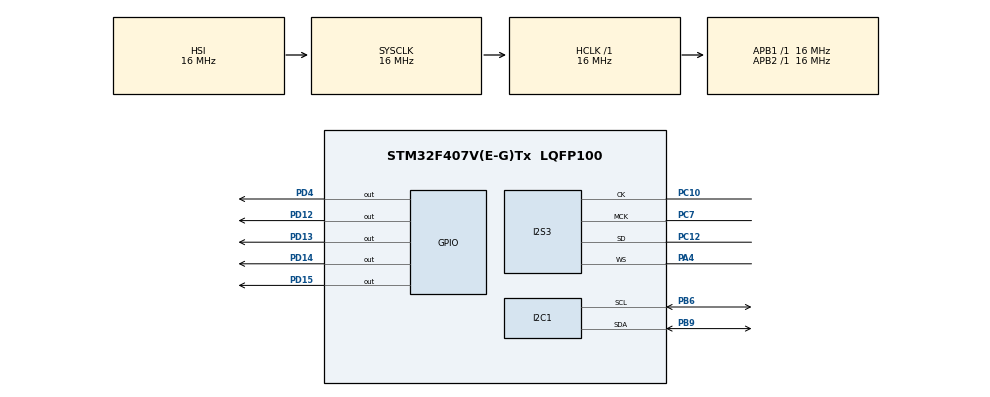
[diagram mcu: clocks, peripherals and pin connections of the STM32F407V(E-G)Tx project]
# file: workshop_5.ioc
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Dma.Request0=SPI3_TX
Dma.SPI3_TX.0.Direction=DMA_MEMORY_TO_PERIPH
Dma.SPI3_TX.0.FIFOMode=DMA_FIFOMODE_DISABLE
Dma.SPI3_TX.0.Instance=DMA1_Stream5
Dma.SPI3_TX.0.MemDataAlignment=DMA_MDATAALIGN_HALFWORD
Dma.SPI3_TX.0.MemInc=DMA_MINC_ENABLE
Dma.SPI3_TX.0.Mode=DMA_CIRCULAR
Dma.SPI3_TX.0.PeriphDataAlignment=DMA_PDATAALIGN_HALFWORD
Dma.SPI3_TX.0.PeriphInc=DMA_PINC_DISABLE
Dma.SPI3_TX.0.Priority=DMA_PRIORITY_LOW
I2S3.AudioFreq=I2S_AUDIOFREQ_48K
I2S3.ErrorAudioFreq=-2.34 %
I2S3.FullDuplexMode=I2S_FULLDUPLEXMODE_DISABLE
I2S3.Instance=SPI$Index
I2S3.RealAudioFreq=46.875 KHz
I2S3.VirtualMode=I2S_MODE_MASTER
Mcu.Family=STM32F4
Mcu.Name=STM32F407V(E-G)Tx
Mcu.Package=LQFP100
NVIC.DMA1_Stream5_IRQn=true\:0\:0\:false\:false\:true\:false\:true\:true
NVIC.PriorityGroup=NVIC_PRIORITYGROUP_4
PA13.Mode=Serial_Wire
PA13.Signal=SYS_JTMS-SWDIO
PA14.Mode=Serial_Wire
PA14.Signal=SYS_JTCK-SWCLK
PA4.Mode=Half_Duplex_Master
PA4.Signal=I2S3_WS
PB6.Mode=I2C
PB6.Signal=I2C1_SCL
PB9.Mode=I2C
PB9.Signal=I2C1_SDA
PC10.Mode=Half_Duplex_Master
PC10.Signal=I2S3_CK
PC12.Mode=Half_Duplex_Master
PC12.Signal=I2S3_SD
PC7.Mode=Master_Clock_Activated
PC7.Signal=I2S3_MCK
PD12.Signal=GPIO_Output
PD13.Signal=GPIO_Output
PD14.Signal=GPIO_Output
PD15.Signal=GPIO_Output
PD4.Signal=GPIO_Output
ProjectManager.HeapSize=0x200
ProjectManager.StackSize=0x400
ProjectManager.TargetToolchain=STM32CubeIDE
RCC.AHBFreq_Value=16000000
RCC.APB1Freq_Value=16000000
RCC.APB2Freq_Value=16000000
RCC.CortexFreq_Value=16000000
RCC.HSE_VALUE=25000000
RCC.HSI_VALUE=16000000
RCC.LSE_VALUE=32768
RCC.SYSCLKFreq_VALUE=16000000
RCC.VCOOutputFreq_Value=192000000
board=custom

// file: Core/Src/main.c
/* USER CODE BEGIN Header */
/**
  ******************************************************************************
  * @file           : main.c
  * @brief          : Main program body
  ******************************************************************************
  * @attention
  *
  * Copyright (c) 2026 STMicroelectronics.
  * All rights reserved.
  *
  * This software is licensed under terms that can be found in the LICENSE file
  * in the root directory of this software component.
  * If no LICENSE file comes with this software, it is provided AS-IS.
  *
  ******************************************************************************
  */
/* USER CODE END Header */
#include "main.h"

/* USER CODE BEGIN PTD */
typedef struct {
  uint8_t note;
  uint16_t duration_ms;
  uint16_t led_pin;
} BeepStep;
/* USER CODE END PTD */

/* USER CODE BEGIN PD */
#define CS43L22_I2C_ADDR              0x94

#define CS43L22_REG_POWER_CTL1        0x02
#define CS43L22_REG_POWER_CTL2        0x04
#define CS43L22_REG_CLOCKING_CTL      0x05
#define CS43L22_REG_INTERFACE_CTL1    0x06
#define CS43L22_REG_MASTER_A_VOL      0x20
#define CS43L22_REG_MASTER_B_VOL      0x21
#define CS43L22_REG_BEEP_FREQ_ONTIME  0x1C
#define CS43L22_REG_BEEP_VOL_OFFTIME  0x1D
#define CS43L22_REG_BEEP_TONE_CFG     0x1E

#define NOTE_C4   0x00
#define NOTE_C5   0x10
#define NOTE_D5   0x20
#define NOTE_E5   0x30
#define NOTE_F5   0x40
#define NOTE_G5   0x50
#define NOTE_A5   0x60
#define NOTE_B5   0x70
#define NOTE_C6   0x80
#define NOTE_D6   0x90
#define NOTE_E6   0xA0
#define NOTE_F6   0xB0
#define NOTE_G6   0xC0
#define NOTE_A6   0xD0
#define NOTE_B6   0xE0
#define NOTE_C7   0xF0

#define MELODY_REPEAT_COUNT 3
#define I2S_BUFFER_SIZE     16
/* USER CODE END PD */

I2C_HandleTypeDef hi2c1;

I2S_HandleTypeDef hi2s3;
DMA_HandleTypeDef hdma_spi3_tx;

/* USER CODE BEGIN PV */
static uint16_t i2sBuffer[I2S_BUFFER_SIZE] = {0};

static const BeepStep melody[] = {
  {NOTE_C5, 180, GPIO_PIN_12},
  {NOTE_D5, 180, GPIO_PIN_13},
  {NOTE_E5, 220, GPIO_PIN_14},
  {NOTE_G5, 320, GPIO_PIN_15},

  {NOTE_E5, 180, GPIO_PIN_14},
  {NOTE_D5, 180, GPIO_PIN_13},
  {NOTE_C5, 300, GPIO_PIN_12},

  {NOTE_G5, 180, GPIO_PIN_15},
  {NOTE_A5, 180, GPIO_PIN_12},
  {NOTE_G5, 220, GPIO_PIN_13},
  {NOTE_E5, 320, GPIO_PIN_14},

  {NOTE_F5, 180, GPIO_PIN_15},
  {NOTE_E5, 180, GPIO_PIN_14},
  {NOTE_D5, 300, GPIO_PIN_13},

  {NOTE_C5, 180, GPIO_PIN_12},
  {NOTE_E5, 180, GPIO_PIN_14},
  {NOTE_G5, 220, GPIO_PIN_15},
  {NOTE_C6, 360, GPIO_PIN_12},

  {NOTE_G5, 180, GPIO_PIN_15},
  {NOTE_E5, 180, GPIO_PIN_14},
  {NOTE_C5, 420, GPIO_PIN_12}
};

static const uint32_t melodyLength = sizeof(melody) / sizeof(melody[0]);
/* USER CODE END PV */

void SystemClock_Config(void);
static void MX_GPIO_Init(void);
static void MX_DMA_Init(void);
static void MX_I2C1_Init(void);
static void MX_I2S3_Init(void);
/* USER CODE BEGIN PFP */
static void CS43L22_WriteReg(uint8_t reg, uint8_t value);
static void CS43L22_Init(void);
static void CS43L22_PlayBeep(uint8_t note, uint16_t duration_ms, uint16_t led_pin);
static void PlayMelodyOnce(void);
static void PlayMelodyThreeTimes(void);
static void StopAllLeds(void);
/* USER CODE END PFP */

/* USER CODE BEGIN 0 */
static void CS43L22_WriteReg(uint8_t reg, uint8_t value)
{
  uint8_t data[2] = {reg, value};
  HAL_I2C_Master_Transmit(&hi2c1, CS43L22_I2C_ADDR, data, 2, HAL_MAX_DELAY);
}

static void CS43L22_Init(void)
{
  HAL_GPIO_WritePin(GPIOD, GPIO_PIN_4, GPIO_PIN_RESET);
  HAL_Delay(10);
  HAL_GPIO_WritePin(GPIOD, GPIO_PIN_4, GPIO_PIN_SET);
  HAL_Delay(10);

  CS43L22_WriteReg(CS43L22_REG_POWER_CTL1, 0x01);
  CS43L22_WriteReg(CS43L22_REG_POWER_CTL2, 0xAF);
  CS43L22_WriteReg(CS43L22_REG_CLOCKING_CTL, 0x81);
  CS43L22_WriteReg(CS43L22_REG_INTERFACE_CTL1, 0x04);
  CS43L22_WriteReg(CS43L22_REG_MASTER_A_VOL, 0x18);
  CS43L22_WriteReg(CS43L22_REG_MASTER_B_VOL, 0x18);
  CS43L22_WriteReg(CS43L22_REG_POWER_CTL1, 0x9E);
}

static void StopAllLeds(void)
{
  HAL_GPIO_WritePin(GPIOD, GPIO_PIN_12 | GPIO_PIN_13 | GPIO_PIN_14 | GPIO_PIN_15, GPIO_PIN_RESET);
}

static void CS43L22_PlayBeep(uint8_t note, uint16_t duration_ms, uint16_t led_pin)
{
  if (duration_ms == 0) {
    return;
  }

  StopAllLeds();

  CS43L22_WriteReg(CS43L22_REG_BEEP_FREQ_ONTIME, note | 0x0F);
  CS43L22_WriteReg(CS43L22_REG_BEEP_VOL_OFFTIME, 0x00);
  CS43L22_WriteReg(CS43L22_REG_BEEP_TONE_CFG, 0xC0);

  HAL_GPIO_WritePin(GPIOD, led_pin, GPIO_PIN_SET);
  HAL_Delay(duration_ms);

  CS43L22_WriteReg(CS43L22_REG_BEEP_TONE_CFG, 0x00);
  StopAllLeds();
}

static void PlayMelodyOnce(void)
{
  for (uint32_t i = 0; i < melodyLength; i++) {
    CS43L22_PlayBeep(melody[i].note, melody[i].duration_ms, melody[i].led_pin);
    HAL_Delay(45);
  }
}

static void PlayMelodyThreeTimes(void)
{
  for (uint32_t round = 0; round < MELODY_REPEAT_COUNT; round++) {
    PlayMelodyOnce();
    HAL_Delay(500);
  }

  StopAllLeds();
}
/* USER CODE END 0 */

int main(void)
{

  /* MCU Configuration--------------------------------------------------------*/

  /* Reset of all peripherals, Initializes the Flash interface and the Systick. */
  HAL_Init();

  /* Configure the system clock */
  SystemClock_Config();

  /* Initialize all configured peripherals */
  MX_GPIO_Init();
  MX_DMA_Init();
  MX_I2C1_Init();
  MX_I2S3_Init();
  /* USER CODE BEGIN 2 */
  if (HAL_I2S_Transmit_DMA(&hi2s3, i2sBuffer, I2S_BUFFER_SIZE) != HAL_OK)
  {
    Error_Handler();
  }

  CS43L22_Init();
  PlayMelodyThreeTimes();
  /* USER CODE END 2 */

  /* Infinite loop */
  while (1)
  {

  }
}

void SystemClock_Config(void)
{
  RCC_OscInitTypeDef RCC_OscInitStruct = {0};
  RCC_ClkInitTypeDef RCC_ClkInitStruct = {0};

  /** Macro to configure the PLL multiplication factor
  */
  __HAL_RCC_PLL_PLLM_CONFIG(16);

  /** Macro to configure the PLL clock source
  */
  __HAL_RCC_PLL_PLLSOURCE_CONFIG(RCC_PLLSOURCE_HSI);

  /** Configure the main internal regulator output voltage
  */
  __HAL_RCC_PWR_CLK_ENABLE();
  __HAL_PWR_VOLTAGESCALING_CONFIG(PWR_REGULATOR_VOLTAGE_SCALE1);

  /** Initializes the RCC Oscillators according to the specified parameters
  * in the RCC_OscInitTypeDef structure.
  */
  RCC_OscInitStruct.OscillatorType = RCC_OSCILLATORTYPE_HSI;
  RCC_OscInitStruct.HSIState = RCC_HSI_ON;
  RCC_OscInitStruct.HSICalibrationValue = RCC_HSICALIBRATION_DEFAULT;
  RCC_OscInitStruct.PLL.PLLState = RCC_PLL_NONE;
  RCC_OscInitStruct.PLL.PLLSource = RCC_PLLSOURCE_HSI;
  if (HAL_RCC_OscConfig(&RCC_OscInitStruct) != HAL_OK)
  {
    Error_Handler();
  }

  /** Initializes the CPU, AHB and APB buses clocks
  */
  RCC_ClkInitStruct.ClockType = RCC_CLOCKTYPE_HCLK|RCC_CLOCKTYPE_SYSCLK
                              |RCC_CLOCKTYPE_PCLK1|RCC_CLOCKTYPE_PCLK2;
  RCC_ClkInitStruct.SYSCLKSource = RCC_SYSCLKSOURCE_HSI;
  RCC_ClkInitStruct.AHBCLKDivider = RCC_SYSCLK_DIV1;
  RCC_ClkInitStruct.APB1CLKDivider = RCC_HCLK_DIV1;
  RCC_ClkInitStruct.APB2CLKDivider = RCC_HCLK_DIV1;

  if (HAL_RCC_ClockConfig(&RCC_ClkInitStruct, FLASH_LATENCY_0) != HAL_OK)
  {
    Error_Handler();
  }
}

static void MX_I2C1_Init(void)
{

  hi2c1.Instance = I2C1;
  hi2c1.Init.ClockSpeed = 100000;
  hi2c1.Init.DutyCycle = I2C_DUTYCYCLE_2;
  hi2c1.Init.OwnAddress1 = 0;
  hi2c1.Init.AddressingMode = I2C_ADDRESSINGMODE_7BIT;
  hi2c1.Init.DualAddressMode = I2C_DUALADDRESS_DISABLE;
  hi2c1.Init.OwnAddress2 = 0;
  hi2c1.Init.GeneralCallMode = I2C_GENERALCALL_DISABLE;
  hi2c1.Init.NoStretchMode = I2C_NOSTRETCH_DISABLE;
  if (HAL_I2C_Init(&hi2c1) != HAL_OK)
  {
    Error_Handler();
  }

}

static void MX_I2S3_Init(void)
{

  hi2s3.Instance = SPI3;
  hi2s3.Init.Mode = I2S_MODE_MASTER_TX;
  hi2s3.Init.Standard = I2S_STANDARD_PHILIPS;
  hi2s3.Init.DataFormat = I2S_DATAFORMAT_16B;
  hi2s3.Init.MCLKOutput = I2S_MCLKOUTPUT_ENABLE;
  hi2s3.Init.AudioFreq = I2S_AUDIOFREQ_48K;
  hi2s3.Init.CPOL = I2S_CPOL_LOW;
  hi2s3.Init.ClockSource = I2S_CLOCK_PLL;
  hi2s3.Init.FullDuplexMode = I2S_FULLDUPLEXMODE_DISABLE;
  if (HAL_I2S_Init(&hi2s3) != HAL_OK)
  {
    Error_Handler();
  }

}

static void MX_DMA_Init(void)
{

  /* DMA controller clock enable */
  __HAL_RCC_DMA1_CLK_ENABLE();

  /* DMA interrupt init */
  /* DMA1_Stream5_IRQn interrupt configuration */
  HAL_NVIC_SetPriority(DMA1_Stream5_IRQn, 0, 0);
  HAL_NVIC_EnableIRQ(DMA1_Stream5_IRQn);

}

static void MX_GPIO_Init(void)
{
  GPIO_InitTypeDef GPIO_InitStruct = {0};

  /* GPIO Ports Clock Enable */
  __HAL_RCC_GPIOA_CLK_ENABLE();
  __HAL_RCC_GPIOD_CLK_ENABLE();
  __HAL_RCC_GPIOC_CLK_ENABLE();
  __HAL_RCC_GPIOB_CLK_ENABLE();

  /*Configure GPIO pin Output Level */
  HAL_GPIO_WritePin(GPIOD, GPIO_PIN_12|GPIO_PIN_13|GPIO_PIN_14|GPIO_PIN_15
                          |GPIO_PIN_4, GPIO_PIN_RESET);

  /*Configure GPIO pins : PD12 PD13 PD14 PD15
                           PD4 */
  GPIO_InitStruct.Pin = GPIO_PIN_12|GPIO_PIN_13|GPIO_PIN_14|GPIO_PIN_15
                          |GPIO_PIN_4;
  GPIO_InitStruct.Mode = GPIO_MODE_OUTPUT_PP;
  GPIO_InitStruct.Pull = GPIO_NOPULL;
  GPIO_InitStruct.Speed = GPIO_SPEED_FREQ_LOW;
  HAL_GPIO_Init(GPIOD, &GPIO_InitStruct);

}

void Error_Handler(void)
{
  __disable_irq();
  while (1)
  {
  }
}
